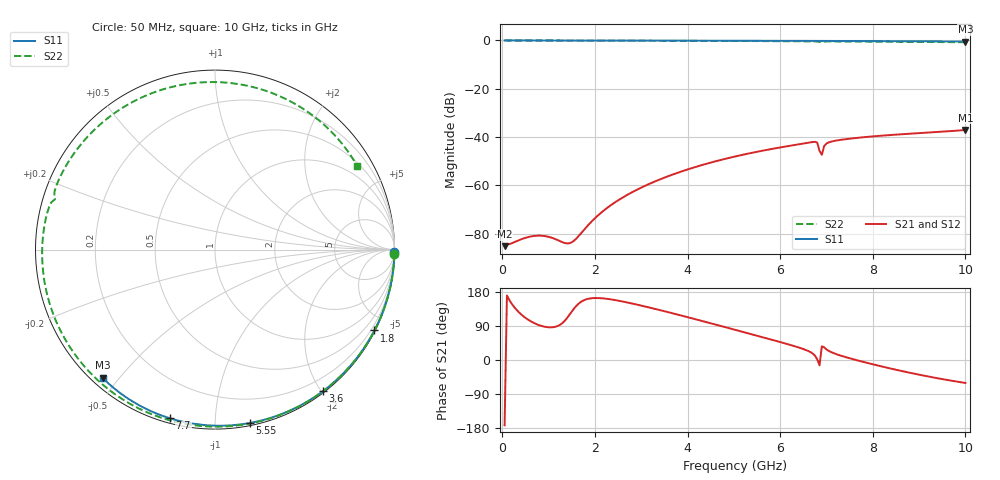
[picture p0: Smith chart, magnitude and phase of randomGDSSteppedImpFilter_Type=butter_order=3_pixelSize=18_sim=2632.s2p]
! freq	dB(S11)	phase(S11)	dB(S12)	phase(S12)
!  dB(S21)	phase(S21)	dB(S22)	phase(S22)
!S-par simulation data
#  GHz  S  DB  R 50
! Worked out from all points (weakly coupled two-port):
!   200 points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, 50 MHz to 10 GHz, reference 50 ohm
!   highest |S21| = -37.08 dB at 10 GHz (marker M1); lowest = -85.2 dB at 50 MHz (marker M2)
!   lowest |S11| = -0.4 dB at 10 GHz (marker M3), VSWR 39.15, Z = 1.54 - j22.6 ohm
!   |S11| at or under -10 dB: nowhere
!   |S22| runs from -0.7 to 0.0 dB; largest |S21 - S12| = 0
!   S11 on the Smith chart (normalised r, x): 50 MHz: open; 1.8 GHz: 0.04, -4.18; 3.6 GHz: 0.02, -2.02; 5.55 GHz: 0.02, -1.22; 7.7 GHz: 0.02, -0.77; 10 GHz: 0.03, -0.45
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0.05  -0.00 -0.8  -85.18 -172.3  -85.18 -172.3  -0.00 -1.5
0.85  -0.02 -12.8  -80.86 89.8  -80.86 89.8  -0.03 -25.1
1.65  -0.03 -24.7  -80.96 148.9  -80.96 148.9  -0.06 -48.3
1.75  -0.03 -26.2  -78.74 157.0  -78.74 157.0  -0.06 -51.1
1.8  -0.03 -26.9  -77.63 159.5  -77.63 159.5  -0.07 -52.6
2.45  -0.05 -36.4  -66.82 157.8  -66.82 157.8  -0.09 -70.9
3.4  -0.07 -49.8  -57.56 131.8  -57.56 131.8  -0.13 -97.0
3.6  -0.07 -52.6  -56.08 125.7  -56.08 125.7  -0.14 -102.5
4.3  -0.09 -62.2  -51.65 103.4  -51.65 103.4  -0.17 -121.5
5.05  -0.11 -72.1  -47.94 78.9  -47.94 78.9  -0.22 -142.3
5.55  -0.13 -78.6  -45.90 62.4  -45.90 62.4  -0.26 -156.6
6.15  -0.15 -86.2  -43.80 42.2  -43.80 42.2  -0.31 -174.6
6.7  -0.18 -93.0  -42.06 17.4  -42.06 17.4  -0.38 167.5
6.8  -0.19 -94.2  -42.26 2.0  -42.26 2.0  -0.45 163.9
6.85  -0.19 -94.8  -45.71 -14.2  -45.71 -14.2  -0.59 162.5
6.9  -0.20 -95.4  -47.34 36.2  -47.34 36.2  -0.52 162.0
6.95  -0.20 -96.0  -43.74 33.5  -43.74 33.5  -0.44 160.1
7.05  -0.20 -97.2  -42.20 23.9  -42.20 23.9  -0.41 156.3
7.7  -0.24 -104.9  -40.26 -2.0  -40.26 -2.0  -0.48 132.2
8.35  -0.29 -112.5  -39.19 -21.6  -39.19 -21.6  -0.56 105.7
9.15  -0.36 -121.7  -38.19 -42.4  -38.19 -42.4  -0.65 69.9
10  -0.44 -131.3  -37.08 -60.6  -37.08 -60.6  -0.73 30.5
